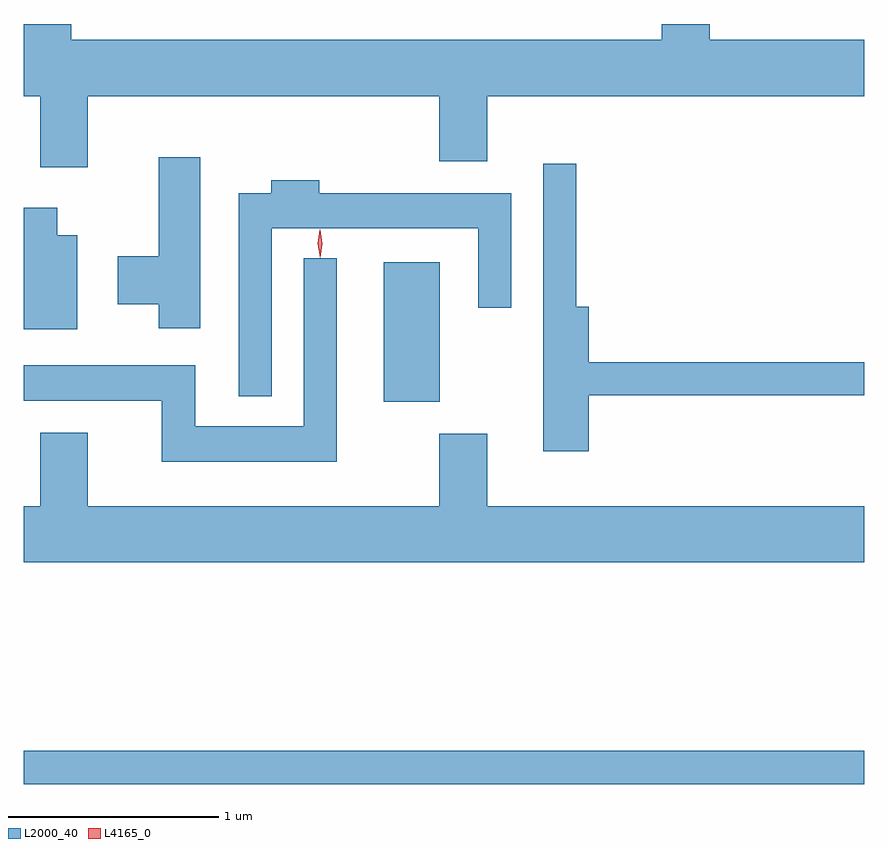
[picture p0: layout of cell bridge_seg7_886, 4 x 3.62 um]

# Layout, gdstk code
import gdstk
lib = gdstk.Library(unit=1e-6, precision=1e-09)
def R(c, l, rs):  # rectangles x0, y0, x1, y1
    for r in rs: c.add(gdstk.rectangle(r[:2], r[2:], *l))
def P(c, l, *ps):  # polygons
    for p in ps: c.add(gdstk.Polygon(p, *l))
L2000_40 = (2000, 40)
L4165_0 = (4165, 0)

bridge_seg7_886 = lib.new_cell('bridge_seg7_886')
R(bridge_seg7_886, L2000_40, [(426.664,1722.141,430.664,1722.299), (428.376,1723.961,428.644,1724.624)])
P(bridge_seg7_886, L2000_40, [(426.969,1725.416),(428.641,1725.416),(428.641,1725.106),(428.869,1725.106),(428.869,1725.416),(430.664,1725.416),(430.664,1725.684),(429.929,1725.684),(429.929,1725.759),(429.701,1725.759),(429.701,1725.684),(426.889,1725.684),(426.889,1725.759),(426.664,1725.759),(426.664,1725.416),(426.741,1725.416),(426.741,1725.076),(426.969,1725.076)],
  [(427.504,1725.124),(427.306,1725.124),(427.306,1724.654),(427.111,1724.654),(427.111,1724.426),(427.306,1724.426),(427.306,1724.311),(427.504,1724.311)],
  [(429.354,1723.991),(430.664,1723.991),(430.664,1724.149),(429.354,1724.149),(429.354,1724.414),(429.294,1724.414),(429.294,1725.093),(429.136,1725.093),(429.136,1723.726),(429.354,1723.726)],
  [(427.844,1724.786),(428.826,1724.786),(428.826,1724.408),(428.984,1724.408),(428.984,1724.954),(428.069,1724.954),(428.069,1725.014),(427.841,1725.014),(427.841,1724.954),(427.686,1724.954),(427.686,1723.988),(427.844,1723.988)],
  [(426.919,1724.754),(426.824,1724.754),(426.824,1724.884),(426.664,1724.884),(426.664,1724.306),(426.919,1724.306)],
  [(428.154,1724.643),(427.996,1724.643),(427.996,1723.844),(427.479,1723.844),(427.479,1724.134),(426.664,1724.134),(426.664,1723.966),(427.321,1723.966),(427.321,1723.676),(428.154,1723.676)],
  [(430.664,1723.464),(428.869,1723.464),(428.869,1723.809),(428.641,1723.809),(428.641,1723.464),(426.969,1723.464),(426.969,1723.814),(426.741,1723.814),(426.741,1723.464),(426.664,1723.464),(426.664,1723.196),(430.664,1723.196)])
P(bridge_seg7_886, L4165_0, [(428.074,1724.647),(428.074,1724.647),(428.064,1724.714),(428.073,1724.78),(428.074,1724.78),(428.074,1724.78),(428.084,1724.714),(428.074,1724.647)])

lib.write_gds('bridge_seg7_886.gds')
